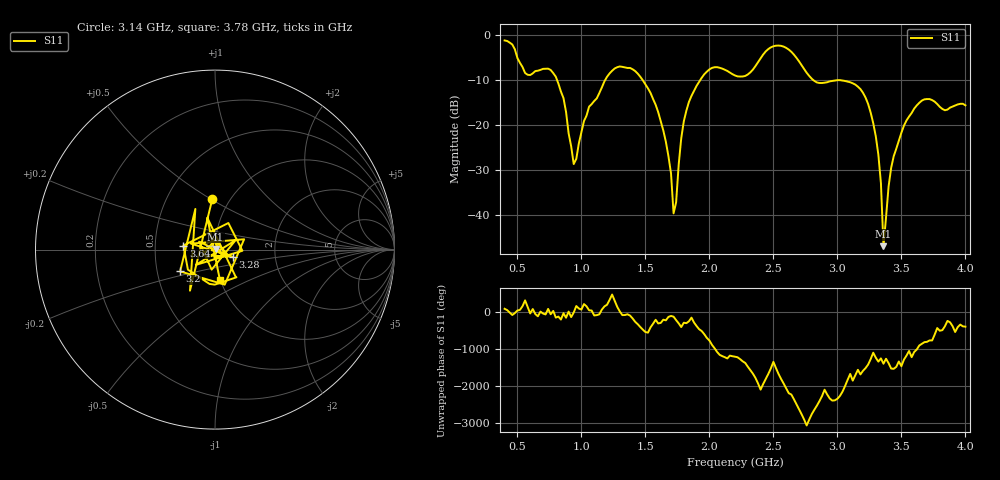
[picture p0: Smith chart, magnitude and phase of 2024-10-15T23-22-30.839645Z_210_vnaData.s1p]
! Created with skrf (http://scikit-rf.org).
# Hz S RI R 50.0
!freq ReS11 ImS11
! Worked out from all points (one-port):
!   181 points, 400 MHz to 4 GHz, reference 50 ohm
!   lowest |S11| = -46.8 dB at 3.36 GHz (marker M1), VSWR 1.01, Z = 50.3 + j0.31 ohm
!   |S11| at or under -10 dB: 810.1 MHz to 1.185 GHz (375 MHz wide, 37.6 % of centre); 1.479 GHz to 1.928 GHz (448.9 MHz wide, 26.4 % of centre); 3.022 GHz to end of sweep (the widest 3 of 4)
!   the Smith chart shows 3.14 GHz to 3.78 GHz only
!   S11 on the Smith chart (normalised r, x): 3.14 GHz: 0.83, +0.51; 3.2 GHz: 0.66, -0.17; 3.28 GHz: 1.21, -0.10; 3.64 GHz: 0.70, +0.03; 3.78 GHz: 1.00, -0.35
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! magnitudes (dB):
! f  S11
! 400 MHz  -1.2
! 580 MHz  -8.8
! 760 MHz  -7.7
! 860 MHz  -14.0
! 940 MHz  -28.6
! 1.06 GHz  -15.9
! 1.3 GHz  -7.0
! 1.58 GHz  -15.5
! 1.68 GHz  -26.9
! 1.72 GHz  -39.5
! 1.76 GHz  -28.8
! 1.82 GHz  -16.8
! 1.92 GHz  -10.3
! 2.2 GHz  -9.0
! 2.5 GHz  -2.5
! 2.66 GHz  -4.3
! 2.84 GHz  -10.5
! 3.1 GHz  -10.5
! 3.14 GHz  -11.0
! 3.2 GHz  -12.8
! 3.28 GHz  -19.5
! 3.34 GHz  -32.8
! 3.36 GHz  -46.8
! 3.42 GHz  -29.5
! 3.56 GHz  -18.1
! 3.64 GHz  -15.0
! 3.78 GHz  -15.3
! 4 GHz  -15.6
